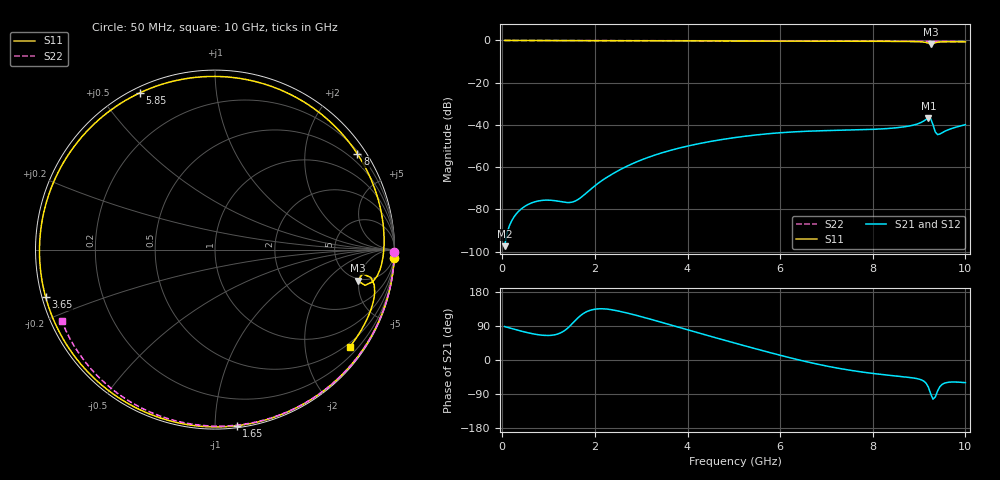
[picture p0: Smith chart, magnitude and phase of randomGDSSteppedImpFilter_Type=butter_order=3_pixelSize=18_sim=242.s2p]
! freq	dB(S11)	phase(S11)	dB(S12)	phase(S12)
!  dB(S21)	phase(S21)	dB(S22)	phase(S22)
!S-par simulation data
#  GHz  S  DB  R 50
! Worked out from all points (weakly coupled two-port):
!   200 points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, 50 MHz to 10 GHz, reference 50 ohm
!   highest |S21| = -36.72 dB at 9.2 GHz (marker M1); lowest = -97.5 dB at 50 MHz (marker M2)
!   lowest |S11| = -1.8 dB at 9.25 GHz (marker M3), VSWR 9.76, Z = 234 - j241 ohm
!   |S11| at or under -10 dB: nowhere
!   |S22| runs from -0.5 to 0.0 dB; largest |S21 - S12| = 0
!   S11 on the Smith chart (normalised r, x): 50 MHz: 0, -43; 1.65 GHz: 0.01, -1.13; 3.65 GHz: 0.01, -0.14; 5.85 GHz: 0.02, +0.63; 8 GHz: 0.26, +3.27; 10 GHz: 0.40, -3.06
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0.05  -0.00 -2.7  -97.45 88.3  -97.45 88.3  -0.00 -0.9
0.4  -0.03 -21.1  -79.98 76.5  -79.98 76.5  -0.01 -7.2
0.9  -0.06 -46.8  -75.69 65.1  -75.69 65.1  -0.02 -16.1
1.45  -0.09 -73.6  -76.77 88.5  -76.77 88.5  -0.03 -25.8
1.65  -0.10 -82.9  -75.14 113.1  -75.14 113.1  -0.04 -29.3
1.75  -0.10 -87.5  -73.47 122.6  -73.47 122.6  -0.04 -31.0
2.5  -0.13 -119.8  -61.73 129.4  -61.73 129.4  -0.06 -43.9
3.4  -0.17 -155.0  -53.55 100.8  -53.55 100.8  -0.08 -58.8
3.65  -0.18 -164.3  -51.96 92.0  -51.96 92.0  -0.08 -62.9
4.35  -0.21 170.2  -48.44 67.6  -48.44 67.6  -0.11 -74.0
5.05  -0.24 144.8  -45.93 43.7  -45.93 43.7  -0.13 -84.8
5.85  -0.28 115.5  -43.99 17.3  -43.99 17.3  -0.16 -96.7
6.7  -0.32 83.6  -42.91 -8.2  -42.91 -8.2  -0.21 -109.0
7.3  -0.35 60.6  -42.56 -22.8  -42.56 -22.8  -0.25 -117.4
8  -0.39 33.9  -42.12 -35.4  -42.12 -35.4  -0.31 -127.2
8.35  -0.42 20.6  -41.67 -40.3  -41.67 -40.3  -0.34 -132.1
8.9  -0.54 -0.6  -39.97 -47.8  -39.97 -47.8  -0.39 -139.7
9.2  -1.31 -13.4  -36.72 -71.3  -36.72 -71.3  -0.43 -143.8
9.25  -1.79 -12.3  -37.03 -89.0  -37.03 -89.0  -0.43 -144.5
9.35  -1.09 -10.1  -43.36 -97.5  -43.36 -97.5  -0.44 -145.9
9.4  -0.83 -12.5  -44.61 -81.6  -44.61 -81.6  -0.44 -146.6
10  -0.67 -35.7  -39.88 -59.8  -39.88 -59.8  -0.52 -155.1
